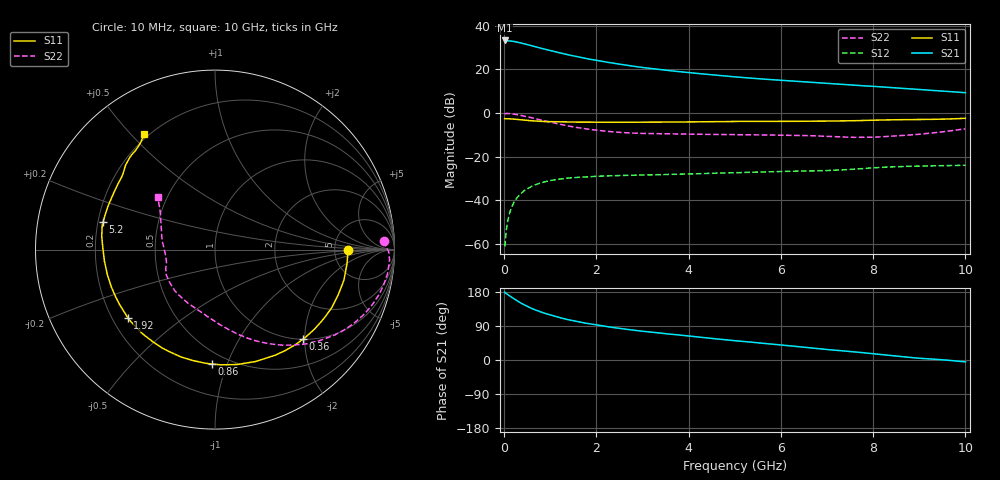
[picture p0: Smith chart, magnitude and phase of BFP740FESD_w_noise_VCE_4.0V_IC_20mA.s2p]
! Infineon Technologies  Discrete & RF Semiconductors
! BFP740FESD
! VCE =  4.0 V,  IC =  20 mA
! Common Emitter S-Parameters:  Jan 2016
# GHz  S  MA  R  50
!  f  S11  S21  S12  S22
! GHz  MAG  ANG  MAG  ANG  MAG  ANG  MAG  ANG
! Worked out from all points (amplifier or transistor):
!   233 points, 10 MHz to 10 GHz, reference 50 ohm
!   highest |S21| = 33.2 dB at 10 MHz (marker M1)
!   |S21| within 3 dB of that: start of sweep to 701.5 MHz
!   unconditionally stable (mu >= 1): 5.689 GHz to end of sweep
!   at 200 MHz: K = 0.16, MSG = 37.1 dB, |S12| = -41.4 dB
!   at 1.74 GHz: K = 0.45, MSG = 27.2 dB, |S12| = -29.2 dB
!   at 10 GHz: K = 1.18, MAG = 14.1 dB, |S12| = -23.9 dB
!   lowest NFmin = 0.80 dB at 450 MHz
!   S11 on the Smith chart (normalised r, x): 10 MHz: 6.74, -0.04; 360 MHz: 1.00, -1.96; 860 MHz: 0.41, -0.89; 1.92 GHz: 0.26, -0.32; 5.2 GHz: 0.22, +0.12; 10 GHz: 0.18, +0.55
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0.01  0.7416 -0.1  45.51 179.1  0.0009 62.7  0.9428 2.9
0.02  0.7398 -2.6  45.2 177.5  0.001 51.2  0.9692 -1.0
0.1  0.7382 -13.3  44.69 171.2  0.0044 74.7  0.9711 -7.8
0.19  0.7269 -25.1  43.49 163.4  0.0081 73.1  0.9485 -14.9
0.28  0.7121 -36.2  41.69 156.2  0.0115 69.5  0.916 -21.5
0.36  0.6994 -45.6  39.95 150.5  0.0142 66.1  0.8824 -26.9
0.5  0.6771 -60.4  36.66 141.5  0.0185 60.1  0.8193 -35.5
0.6  0.6632 -70.1  34.38 135.9  0.0211 56.2  0.7738 -40.9
0.7  0.6522 -78.9  32.25 131.0  0.0234 52.8  0.731 -45.9
0.86  0.6375 -91.4  29.11 124.1  0.0263 48.0  0.6671 -52.9
1  0.6303 -101.2  26.72 118.6  0.0284 44.4  0.6164 -58.8
1.22  0.6231 -114.1  23.51 111.3  0.0309 39.7  0.5485 -66.9
1.4  0.6197 -123.1  21.25 106.0  0.0325 36.6  0.5022 -72.9
1.68  0.6169 -134.3  18.47 99.2  0.0342 32.9  0.4475 -81.0
1.92  0.6167 -142.0  16.51 94.0  0.0353 30.6  0.4131 -87.4
2.6  0.614 -159.2  12.58 81.8  0.0373 26.4  0.3552 -103.2
3.4  0.6179 -172.7  9.752 70.9  0.0388 25.1  0.3353 -115.6
5.1  0.6421 167.1  6.561 49.9  0.0433 25.0  0.3197 -134.7
5.2  0.6418 166.2  6.434 48.8  0.0436 25.0  0.3188 -135.6
6.8  0.6494 148.1  4.891 30.1  0.0478 25.6  0.2982 -156.3
8.4  0.6977 133.2  3.801 11.5  0.0586 25.5  0.2948 172.1
10  0.7542 121.4  2.912 -4.9  0.0635 18.9  0.4337 137.4
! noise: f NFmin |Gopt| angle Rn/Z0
0.45  0.8  0.01  -145  0.08
2.4  0.82  0.04  -161  0.09
5.5  0.98  0.22  166  0.08
10  1.49  0.37  -124  0.16
